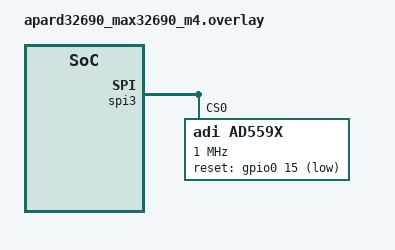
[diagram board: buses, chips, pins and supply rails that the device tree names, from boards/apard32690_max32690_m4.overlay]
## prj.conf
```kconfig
# =============================================================================
# APPLICATION-SPECIFIC CONFIGURATION
# =============================================================================

CONFIG_MICROROS_NODES="1"
CONFIG_MICROROS_PUBLISHERS="8"
CONFIG_MICROROS_SUBSCRIBERS="1"
# CONFIG_MICROROS_CLIENTS="1"
# CONFIG_MICROROS_SERVERS="1"
CONFIG_MICROROS_RMW_HISTORIC="4"
# CONFIG_MICROROS_XRCE_DDS_MTU="512"
# CONFIG_MICROROS_XRCE_DDS_HISTORIC="4"

# =============================================================================
# CORE SYSTEM CONFIGURATION
# =============================================================================

CONFIG_SPI=y
CONFIG_DAC=y
CONFIG_MFD_AD559X=y

# =============================================================================
# MICROROS LIBRARY
# =============================================================================
CONFIG_GPIO=y
CONFIG_MICROROS=y
CONFIG_CPP=y

CONFIG_MAIN_STACK_SIZE=25000
CONFIG_MAIN_THREAD_PRIORITY=3

CONFIG_NEWLIB_LIBC=y
CONFIG_NEWLIB_LIBC_NANO=n
CONFIG_PTHREAD_IPC=n

CONFIG_POSIX_API=y
CONFIG_POSIX_CLOCK=y

CONFIG_STDOUT_CONSOLE=y
CONFIG_LOG=y
CONFIG_SERIAL=y
CONFIG_UART_INTERRUPT_DRIVEN=y
CONFIG_UART_LINE_CTRL=y
```

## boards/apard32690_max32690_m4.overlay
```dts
/ {
    zephyr,user {
        dac = <&ad559x_dac>;
        dac-channel-id = <0>;
        dac-resolution = <12>;
    };
};

&spi3 {
    status = "okay";

    ad559x@0 {
        compatible = "adi,ad559x";
        status = "okay";
        reg = <0>;

        spi-max-frequency = <DT_FREQ_M(1)>;
        spi-cpol;

        reset-gpios = <&gpio0 15 (GPIO_ACTIVE_LOW)>;

        ad559x_dac: dac {
            compatible = "adi,ad559x-dac";
            status = "okay";
            #io-channel-cells = <1>;
        };
    };
};

// Used in micro-ROS transport configuration
usart1: &uart0 {};
```

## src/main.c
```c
/*
 * Copyright (c) 2020 Libre Solar Technologies GmbH
 *
 * SPDX-License-Identifier: Apache-2.0
 */
/*
 * Copyright (c) 2025 Analog Devices, Inc.
 *
 * SPDX-License-Identifier: Apache-2.0
 */

#include <zephyr/drivers/dac.h>
#include <zephyr/kernel.h>

#include <stdio.h>

#include <rcl/rcl.h>
#include <rclc/executor.h>

#include <micro_ros_utilities/string_utilities.h>
#include <std_msgs/msg/int32.h>

#include <microros_transports.h>
#include <rmw_microros/rmw_microros.h>

/* ============================================================================
 * CONFIGURATION AND CONSTANTS
 * ============================================================================
 */

#define ZEPHYR_USER_NODE DT_PATH(zephyr_user)
#if (DT_NODE_HAS_PROP(ZEPHYR_USER_NODE, dac) &&            \
	 DT_NODE_HAS_PROP(ZEPHYR_USER_NODE, dac_channel_id) && \
	 DT_NODE_HAS_PROP(ZEPHYR_USER_NODE, dac_resolution))
#define DAC_NODE DT_PHANDLE(ZEPHYR_USER_NODE, dac)
#define DAC_CHANNEL_ID DT_PROP(ZEPHYR_USER_NODE, dac_channel_id)
#define DAC_RESOLUTION DT_PROP(ZEPHYR_USER_NODE, dac_resolution)
#else
#error "Unsupported board: see README and check /zephyr,user node"
#endif

#define NODE_NAME "zephyr_dac_controller"
#define NODE_NAMESPACE ""
#define TOPIC_NAME_MAX_LEN 32
#define TOPIC_NAME "dac/aout" STRINGIFY(DAC_CHANNEL_ID) "/raw"
#define DOMAIN_ID 0

/* Error Checking Macros */
#define RCCHECK(fn)                                                       \
	{                                                                     \
		rcl_ret_t temp_rc = fn;                                           \
		if ((temp_rc != RCL_RET_OK))                                      \
		{                                                                 \
			printf("Failed status on line %d: %d. Aborting.\n", __LINE__, \
				   (int)temp_rc);                                         \
			return 1;                                                     \
		}                                                                 \
	}
#define RCSOFTCHECK(fn)                                                     \
	{                                                                       \
		rcl_ret_t temp_rc = fn;                                             \
		if ((temp_rc != RCL_RET_OK))                                        \
		{                                                                   \
			printf("Failed status on line %d: %d. Continuing.\n", __LINE__, \
				   (int)temp_rc);                                           \
		}                                                                   \
	}

#define EXECUTE_EVERY_N_MS(MS, X)          \
	do                                     \
	{                                      \
		static volatile int64_t init = -1; \
		if (init == -1)                    \
		{                                  \
			init = uxr_millis();           \
		}                                  \
		if (uxr_millis() - init > MS)      \
		{                                  \
			X;                             \
			init = uxr_millis();           \
		}                                  \
	} while (0)

/* ============================================================================
 * DATA STRUCTURES
 * ============================================================================
 */

enum states
{
	WAITING_AGENT,
	AGENT_AVAILABLE,
	AGENT_CONNECTED,
	AGENT_DISCONNECTED
} state;

/* ============================================================================
 * GLOBAL VARIABLES
 * ============================================================================
 */

rclc_support_t support;
rcl_init_options_t init_options;
rcl_node_t node;
rclc_executor_t executor;
rcl_allocator_t allocator;

rcl_subscription_t subscriber_int32;
std_msgs__msg__Int32 msg_int32;

// static const struct gpio_dt_spec led = GPIO_DT_SPEC_GET(LED0_NODE, gpios);
static const struct device *const dac_dev = DEVICE_DT_GET(DAC_NODE);
static const struct dac_channel_cfg dac_ch_cfg = {
	.channel_id = DAC_CHANNEL_ID, .resolution = DAC_RESOLUTION, .buffered = true};

/* ============================================================================
 * FUNCTION PROTOTYPES
 * ============================================================================
 */
static bool dac_initialize(void);
static bool create_entities(void);
static bool destroy_entities(void);
static void subscription_callback(const void *);

/* ============================================================================
 * MAIN APPLICATION
 * ============================================================================
 */
int main(void)
{
	rmw_uros_set_custom_transport(MICRO_ROS_FRAMING_REQUIRED, (void *)&default_params,
								  zephyr_transport_open, zephyr_transport_close,
								  zephyr_transport_write, zephyr_transport_read);

	// HW initialization
	if (!dac_initialize())
	{
		return -EIO;
	}

	// agent discovery state machine
	state = WAITING_AGENT;
	while (1)
	{
		switch (state)
		{
		case WAITING_AGENT:
			EXECUTE_EVERY_N_MS(500, state = (RMW_RET_OK == rmw_uros_ping_agent(100, 1))
												? AGENT_AVAILABLE
												: WAITING_AGENT;);
			break;
		case AGENT_AVAILABLE:
			state = (true == create_entities()) ? AGENT_CONNECTED : WAITING_AGENT;
			if (state == WAITING_AGENT)
			{
				destroy_entities();
			}
			break;
		case AGENT_CONNECTED:
			// main execution loop - blocking call
			rclc_executor_spin(&executor);
			state = AGENT_DISCONNECTED;
			break;
		case AGENT_DISCONNECTED:
			destroy_entities();
			state = WAITING_AGENT;
			break;
		default:
			break;
		}
	}

	return 0;
} // main

/* ============================================================================
 * FUNCTION IMPLEMENTATIONS
 * ============================================================================
 */

static bool dac_initialize(void)
{
	int ret;

	if (!device_is_ready(dac_dev))
	{
		return false;
	}

	ret = dac_channel_setup(dac_dev, &dac_ch_cfg);
	if (ret < 0)
	{
		return false;
	}
	return true;
}

static bool create_entities(void)
{
	allocator = rcl_get_default_allocator();

	// create init options
	init_options = rcl_get_zero_initialized_init_options();
	RCCHECK(rcl_init_options_init(&init_options, allocator));
	RCCHECK(rcl_init_options_set_domain_id(&init_options, DOMAIN_ID))
	RCCHECK(rclc_support_init_with_options(&support, 0, NULL, &init_options, &allocator));

	// create node
	RCCHECK(rclc_node_init_default(&node, NODE_NAME, NODE_NAMESPACE, &support));

	// create subscriber
	RCCHECK(rclc_subscription_init_default(&subscriber_int32, &node,
										   ROSIDL_GET_MSG_TYPE_SUPPORT(std_msgs, msg, Int32),
										   TOPIC_NAME));

	// create executor
	executor = rclc_executor_get_zero_initialized_executor();
	RCCHECK(rclc_executor_init(&executor, &support.context, 1, &allocator));
	RCCHECK(rclc_executor_add_subscription(&executor, &subscriber_int32, &msg_int32,
										   &subscription_callback, ON_NEW_DATA));

	return true;
}

static bool destroy_entities(void)
{
	rmw_context_t *rmw_context = rcl_context_get_rmw_context(&support.context);
	(void)rmw_uros_set_context_entity_destroy_session_timeout(rmw_context, 0);

	RCSOFTCHECK(rcl_subscription_fini(&subscriber_int32, &node));
	RCSOFTCHECK(rclc_executor_fini(&executor));
	RCSOFTCHECK(rcl_node_fini(&node));
	RCSOFTCHECK(rclc_support_fini(&support));
	RCSOFTCHECK(rcl_node_options_fini(&init_options));
}

static void subscription_callback(const void *msgin)
{
	const std_msgs__msg__Int32 *msg = (const std_msgs__msg__Int32 *)msgin;
	if ((msg->data < 0) || (msg->data >= (1 << DAC_RESOLUTION)))
	{
		return;
	}
	dac_write_value(dac_dev, DAC_CHANNEL_ID, msg->data);
}
```
